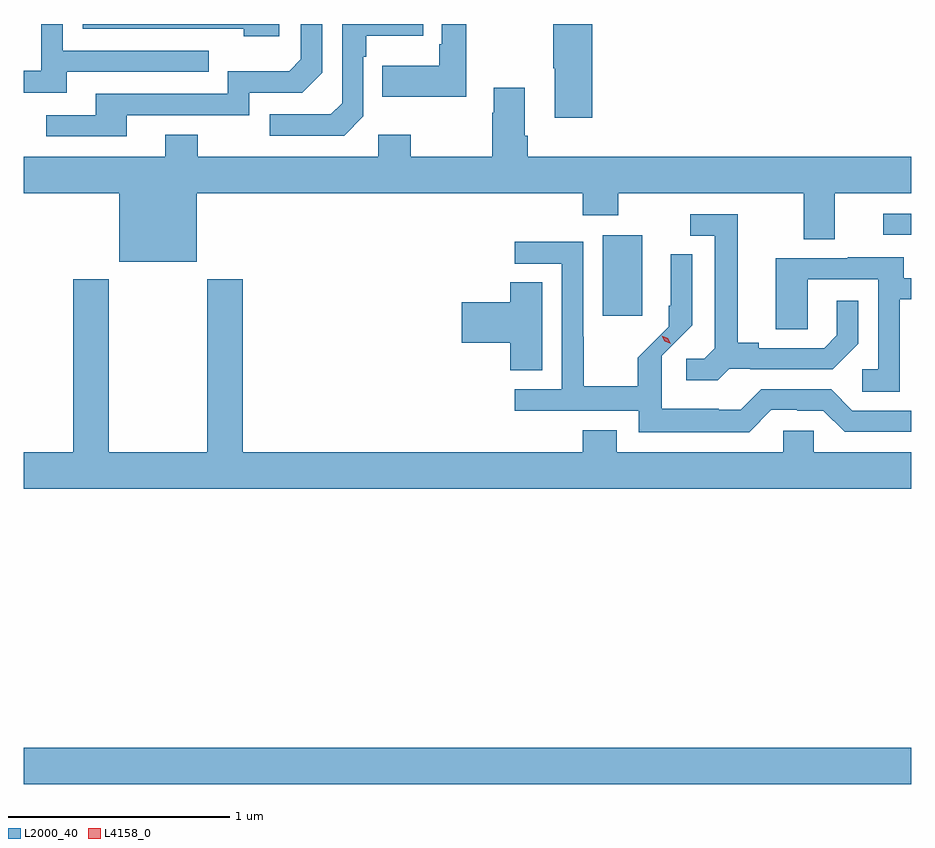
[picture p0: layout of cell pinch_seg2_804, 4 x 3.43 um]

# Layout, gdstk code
import gdstk
lib = gdstk.Library(unit=1e-6, precision=1e-09)
def R(c, l, rs):  # rectangles x0, y0, x1, y1
    for r in rs: c.add(gdstk.rectangle(r[:2], r[2:], *l))
def P(c, l, *ps):  # polygons
    for p in ps: c.add(gdstk.Polygon(p, *l))
L2000_40 = (2000, 40)
L4158_0 = (4158, 0)

pinch_seg2_804 = lib.new_cell('pinch_seg2_804')
R(pinch_seg2_804, L2000_40, [(672.647,590.36,676.647,590.524), (675.257,592.472,675.436,592.834), (676.521,592.836,676.647,592.932)])
P(pinch_seg2_804, L2000_40, [(674.178,593.37),(674.178,593.639),(674.191,593.639),(674.191,593.735),(674.447,593.735),(674.447,593.787),(674.082,593.787),(674.082,593.43),(674.031,593.379),(673.755,593.379),(673.755,593.283),(674.091,593.283)],
  [(673.111,593.376),(673.662,593.376),(673.662,593.478),(673.902,593.478),(673.992,593.568),(673.992,593.787),(673.896,593.787),(673.896,593.628),(673.843,593.575),(673.566,593.575),(673.566,593.472),(672.971,593.472),(672.971,593.376),(672.747,593.376),(672.747,593.28),(673.111,593.28)],
  [(673.798,593.787),(672.912,593.787),(672.912,593.766),(673.637,593.766),(673.637,593.732),(673.798,593.732)],
  [(675.209,593.787),(675.034,593.787),(675.034,593.587),(675.041,593.587),(675.041,593.364),(675.209,593.364)],
  [(674.641,593.787),(674.532,593.787),(674.532,593.695),(674.52,593.695),(674.52,593.599),(674.263,593.599),(674.263,593.459),(674.641,593.459)],
  [(672.841,593.571),(673.481,593.571),(673.481,593.667),(672.822,593.667),(672.822,593.787),(672.726,593.787),(672.726,593.577),(672.647,593.577),(672.647,593.477),(672.841,593.477)],
  [(673.426,593.024),(675.167,593.024),(675.167,592.925),(675.327,592.925),(675.327,593.024),(676.163,593.024),(676.163,592.816),(676.303,592.816),(676.303,593.024),(676.647,593.024),(676.647,593.188),(674.918,593.188),(674.918,593.284),(674.905,593.284),(674.905,593.5),(674.765,593.5),(674.765,593.387),(674.758,593.387),(674.758,593.188),(674.391,593.188),(674.391,593.287),(674.244,593.287),(674.244,593.188),(673.431,593.188),(673.431,593.287),(673.283,593.287),(673.283,593.188),(672.647,593.188),(672.647,593.024),(673.076,593.024),(673.076,592.715),(673.426,592.715)],
  [(675.828,592.233),(675.922,592.233),(675.922,592.23),(676.294,592.23),(676.41,592.346),(676.41,592.54),(676.313,592.54),(676.313,592.383),(676.256,592.326),(675.961,592.326),(675.961,592.349),(675.865,592.349),(675.865,592.929),(675.651,592.929),(675.651,592.833),(675.761,592.833),(675.761,592.325),(675.714,592.278),(675.633,592.278),(675.633,592.181),(675.776,592.181)],
  [(676.017,592.047),(676.133,592.047),(676.133,592.044),(676.251,592.044),(676.347,591.948),(676.647,591.948),(676.647,592.044),(676.383,592.044),(676.287,592.14),(675.972,592.14),(675.879,592.047),(675.779,592.047),(675.779,592.051),(675.522,592.051),(675.522,592.291),(675.66,592.429),(675.66,592.748),(675.564,592.748),(675.564,592.516),(675.555,592.516),(675.555,592.421),(675.415,592.281),(675.415,592.153),(675.171,592.153),(675.171,592.376),(675.168,592.376),(675.168,592.806),(674.859,592.806),(674.859,592.707),(675.072,592.707),(675.072,592.14),(674.859,592.14),(674.859,592.044),(675.42,592.044),(675.42,591.947),(675.917,591.947)],
  [(676.596,592.545),(676.647,592.545),(676.647,592.641),(676.615,592.641),(676.615,592.735),(676.361,592.735),(676.361,592.731),(676.037,592.731),(676.037,592.411),(676.182,592.411),(676.182,592.635),(676.5,592.635),(676.5,592.23),(676.428,592.23),(676.428,592.129),(676.596,592.129)],
  [(676.647,591.856),(676.209,591.856),(676.209,591.954),(676.071,591.954),(676.071,591.856),(675.319,591.856),(675.319,591.955),(675.167,591.955),(675.167,591.856),(673.634,591.856),(673.634,592.636),(673.474,592.636),(673.474,591.856),(673.029,591.856),(673.029,592.636),(672.869,592.636),(672.869,591.856),(672.647,591.856),(672.647,591.692),(676.647,591.692)],
  [(674.983,592.622),(674.84,592.622),(674.84,592.532),(674.622,592.532),(674.622,592.349),(674.84,592.349),(674.84,592.225),(674.983,592.225)])
P(pinch_seg2_804, L4158_0, [(675.564,592.345),(675.537,592.356),(675.522,592.381),(675.522,592.381),(675.522,592.381),(675.55,592.371),(675.564,592.346),(675.564,592.345)])

lib.write_gds('pinch_seg2_804.gds')
